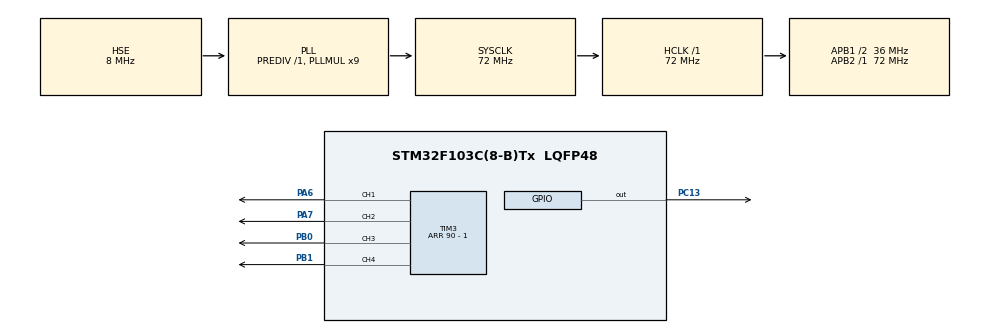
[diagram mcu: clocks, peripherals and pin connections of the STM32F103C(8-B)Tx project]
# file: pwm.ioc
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Dma.Request0=TIM3_CH1/TRIG
Dma.Request1=TIM3_CH3
Dma.Request2=TIM3_CH4/UP
Dma.TIM3_CH1/TRIG.0.Direction=DMA_MEMORY_TO_PERIPH
Dma.TIM3_CH1/TRIG.0.Instance=DMA1_Channel6
Dma.TIM3_CH1/TRIG.0.MemDataAlignment=DMA_MDATAALIGN_HALFWORD
Dma.TIM3_CH1/TRIG.0.MemInc=DMA_MINC_ENABLE
Dma.TIM3_CH1/TRIG.0.Mode=DMA_NORMAL
Dma.TIM3_CH1/TRIG.0.PeriphDataAlignment=DMA_PDATAALIGN_HALFWORD
Dma.TIM3_CH1/TRIG.0.PeriphInc=DMA_PINC_DISABLE
Dma.TIM3_CH1/TRIG.0.Priority=DMA_PRIORITY_LOW
Dma.TIM3_CH3.1.Direction=DMA_MEMORY_TO_PERIPH
Dma.TIM3_CH3.1.Instance=DMA1_Channel2
Dma.TIM3_CH3.1.MemDataAlignment=DMA_MDATAALIGN_HALFWORD
Dma.TIM3_CH3.1.MemInc=DMA_MINC_ENABLE
Dma.TIM3_CH3.1.Mode=DMA_NORMAL
Dma.TIM3_CH3.1.PeriphDataAlignment=DMA_PDATAALIGN_HALFWORD
Dma.TIM3_CH3.1.PeriphInc=DMA_PINC_DISABLE
Dma.TIM3_CH3.1.Priority=DMA_PRIORITY_LOW
Dma.TIM3_CH4/UP.2.Direction=DMA_MEMORY_TO_PERIPH
Dma.TIM3_CH4/UP.2.Instance=DMA1_Channel3
Dma.TIM3_CH4/UP.2.MemDataAlignment=DMA_MDATAALIGN_HALFWORD
Dma.TIM3_CH4/UP.2.MemInc=DMA_MINC_ENABLE
Dma.TIM3_CH4/UP.2.Mode=DMA_NORMAL
Dma.TIM3_CH4/UP.2.PeriphDataAlignment=DMA_PDATAALIGN_HALFWORD
Dma.TIM3_CH4/UP.2.PeriphInc=DMA_PINC_DISABLE
Dma.TIM3_CH4/UP.2.Priority=DMA_PRIORITY_LOW
Mcu.Family=STM32F1
Mcu.Name=STM32F103C(8-B)Tx
Mcu.Package=LQFP48
NVIC.DMA1_Channel2_IRQn=true\:0\:0\:false\:false\:true\:false\:true\:true
NVIC.DMA1_Channel3_IRQn=true\:0\:0\:false\:false\:true\:false\:true\:true
NVIC.DMA1_Channel6_IRQn=true\:0\:0\:false\:false\:true\:false\:true\:true
NVIC.PriorityGroup=NVIC_PRIORITYGROUP_4
NVIC.TIM3_IRQn=true\:0\:0\:false\:false\:true\:true\:true\:true
PA13.Mode=Serial_Wire
PA13.Signal=SYS_JTMS-SWDIO
PA14.Mode=Serial_Wire
PA14.Signal=SYS_JTCK-SWCLK
PA6.GPIO_Speed=GPIO_SPEED_FREQ_HIGH
PA6.Signal=S_TIM3_CH1
PA7.GPIO_Speed=GPIO_SPEED_FREQ_HIGH
PA7.Signal=S_TIM3_CH2
PB0.GPIO_Speed=GPIO_SPEED_FREQ_HIGH
PB0.Signal=S_TIM3_CH3
PB1.GPIO_Speed=GPIO_SPEED_FREQ_HIGH
PB1.Signal=S_TIM3_CH4
PC13-TAMPER-RTC.GPIO_Speed=GPIO_SPEED_FREQ_HIGH
PC13-TAMPER-RTC.PinState=GPIO_PIN_RESET
PC13-TAMPER-RTC.Signal=GPIO_Output
PD0-OSC_IN.Mode=HSE-External-Oscillator
PD0-OSC_IN.Signal=RCC_OSC_IN
PD1-OSC_OUT.Mode=HSE-External-Oscillator
PD1-OSC_OUT.Signal=RCC_OSC_OUT
ProjectManager.HeapSize=0x200
ProjectManager.StackSize=0x400
ProjectManager.TargetToolchain=MDK-ARM V5.32
RCC.AHBFreq_Value=72000000
RCC.APB1CLKDivider=RCC_HCLK_DIV2
RCC.APB1Freq_Value=36000000
RCC.APB1TimFreq_Value=72000000
RCC.APB2Freq_Value=72000000
RCC.APB2TimFreq_Value=72000000
RCC.HCLKFreq_Value=72000000
RCC.PLLMUL=RCC_PLL_MUL9
RCC.PLLSourceVirtual=RCC_PLLSOURCE_HSE
RCC.SYSCLKFreq_VALUE=72000000
RCC.SYSCLKSource=RCC_SYSCLKSOURCE_PLLCLK
RCC.USBFreq_Value=72000000
SH.S_TIM3_CH1.0=TIM3_CH1,PWM Generation1 CH1
SH.S_TIM3_CH2.0=TIM3_CH2,PWM Generation2 CH2
SH.S_TIM3_CH3.0=TIM3_CH3,PWM Generation3 CH3
SH.S_TIM3_CH4.0=TIM3_CH4,PWM Generation4 CH4
TIM3.Channel-PWM\ Generation1\ CH1=TIM_CHANNEL_1
TIM3.Channel-PWM\ Generation2\ CH2=TIM_CHANNEL_2
TIM3.Channel-PWM\ Generation3\ CH3=TIM_CHANNEL_3
TIM3.Channel-PWM\ Generation4\ CH4=TIM_CHANNEL_4
TIM3.Period=90 - 1
VP_TIM3_VS_ClockSourceINT.Mode=Internal
board=custom

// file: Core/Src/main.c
/* USER CODE BEGIN Header */
/**
  ******************************************************************************
  * @file           : main.c
  * @brief          : Main program body
  ******************************************************************************
  * @attention
  *
  * Copyright (c) 2025 STMicroelectronics.
  * All rights reserved.
  *
  * This software is licensed under terms that can be found in the LICENSE file
  * in the root directory of this software component.
  * If no LICENSE file comes with this software, it is provided AS-IS.
  *
  ******************************************************************************
  */
/* USER CODE END Header */
#include "main.h"
#include "dma.h"
#include "tim.h"
#include "gpio.h"

/* USER CODE BEGIN Includes */
#include "ws2812.h"
/* USER CODE END Includes */

void SystemClock_Config(void);

/* USER CODE BEGIN 0 */
void SimpleColorFade(void) {
    // ��ɫ���䣨0 �� 255 �� 0��
    for (uint8_t r = 0; r <= 0xFF; r++) {
        WS2812_SetAll(r/4, 0, 0);
        WS2812_Update();
        HAL_Delay(10);
    }
    for (uint8_t r = 0xFF; r > 0; r--) {
        WS2812_SetAll(r/4, 0, 0);
        WS2812_Update();
        HAL_Delay(10);
    }

    // ��ɫ���䣨0 �� 255 �� 0��
    for (uint8_t g = 0; g <= 0xFF; g++) {
        WS2812_SetAll(0, g/4, 0);
        WS2812_Update();
        HAL_Delay(10);
    }
    for (uint8_t g = 0xFF; g > 0; g--) {
        WS2812_SetAll(0, g/4, 0);
        WS2812_Update();
        HAL_Delay(10);
    }

    // ��ɫ���䣨0 �� 255 �� 0��
    for (uint8_t b = 0; b <= 0xFF; b++) {
        WS2812_SetAll(0, 0, b/4);
        WS2812_Update();
        HAL_Delay(10);
    }
    for (uint8_t b = 0xFF; b > 0; b--) {
        WS2812_SetAll(0, 0, b/4);
        WS2812_Update();
        HAL_Delay(10);
    }
}

/* USER CODE END 0 */

int main(void)
{

  /* MCU Configuration--------------------------------------------------------*/

  /* Reset of all peripherals, Initializes the Flash interface and the Systick. */
  HAL_Init();

  /* Configure the system clock */
  SystemClock_Config();

  /* Initialize all configured peripherals */
  MX_GPIO_Init();
  MX_DMA_Init();
  MX_TIM3_Init();

  /* Infinite loop */
  while (1)
  {

    /* USER CODE BEGIN 3 */
    // SimpleColorFade();
    for(uint8_t r = 0; r <= 0xFF; r++)
    {
      WS2812_SetAll(r/8, 0, 0x1F);
      WS2812_SetFixedColor(0, 0, 0x1F);  // R=255, G=0, B=0
      WS2812_Update();
      HAL_Delay(30);
    }
  }
  /* USER CODE END 3 */
}

void SystemClock_Config(void)
{
  RCC_OscInitTypeDef RCC_OscInitStruct = {0};
  RCC_ClkInitTypeDef RCC_ClkInitStruct = {0};

  /** Initializes the RCC Oscillators according to the specified parameters
  * in the RCC_OscInitTypeDef structure.
  */
  RCC_OscInitStruct.OscillatorType = RCC_OSCILLATORTYPE_HSE;
  RCC_OscInitStruct.HSEState = RCC_HSE_ON;
  RCC_OscInitStruct.HSEPredivValue = RCC_HSE_PREDIV_DIV1;
  RCC_OscInitStruct.HSIState = RCC_HSI_ON;
  RCC_OscInitStruct.PLL.PLLState = RCC_PLL_ON;
  RCC_OscInitStruct.PLL.PLLSource = RCC_PLLSOURCE_HSE;
  RCC_OscInitStruct.PLL.PLLMUL = RCC_PLL_MUL9;
  if (HAL_RCC_OscConfig(&RCC_OscInitStruct) != HAL_OK)
  {
    Error_Handler();
  }

  /** Initializes the CPU, AHB and APB buses clocks
  */
  RCC_ClkInitStruct.ClockType = RCC_CLOCKTYPE_HCLK|RCC_CLOCKTYPE_SYSCLK
                              |RCC_CLOCKTYPE_PCLK1|RCC_CLOCKTYPE_PCLK2;
  RCC_ClkInitStruct.SYSCLKSource = RCC_SYSCLKSOURCE_PLLCLK;
  RCC_ClkInitStruct.AHBCLKDivider = RCC_SYSCLK_DIV1;
  RCC_ClkInitStruct.APB1CLKDivider = RCC_HCLK_DIV2;
  RCC_ClkInitStruct.APB2CLKDivider = RCC_HCLK_DIV1;

  if (HAL_RCC_ClockConfig(&RCC_ClkInitStruct, FLASH_LATENCY_2) != HAL_OK)
  {
    Error_Handler();
  }
}

void Error_Handler(void)
{
  __disable_irq();
  while (1)
  {
  }
}
